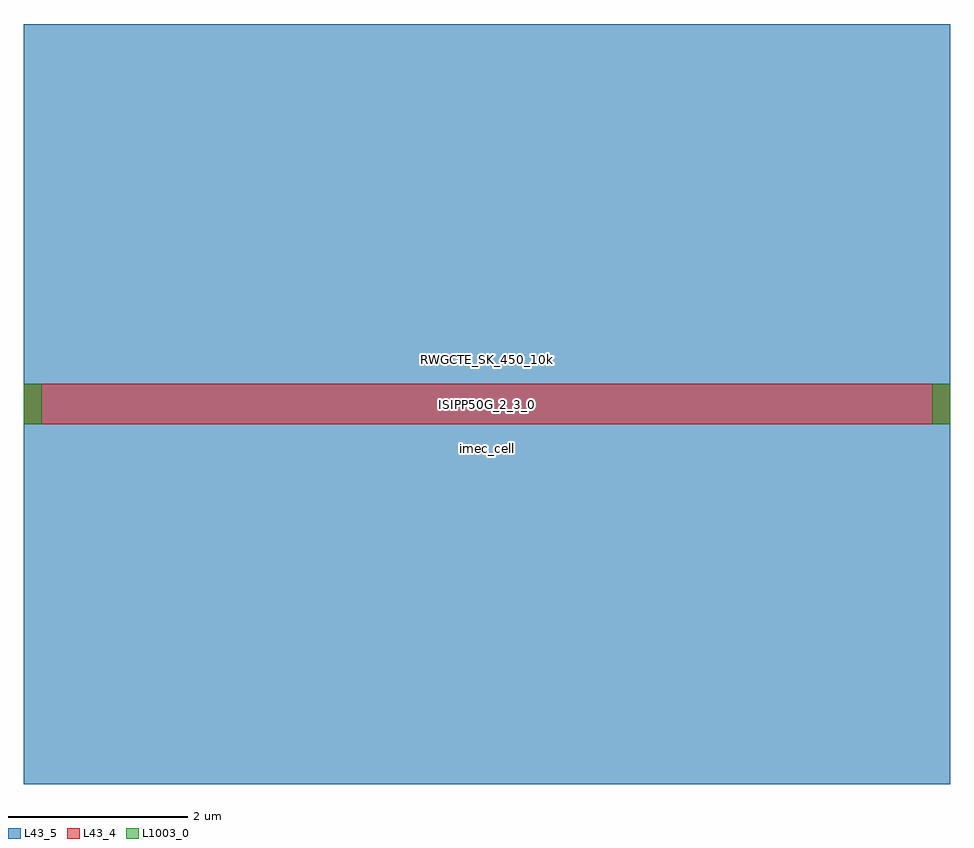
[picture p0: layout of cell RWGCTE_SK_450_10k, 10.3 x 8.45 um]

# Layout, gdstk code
import gdstk
lib = gdstk.Library(unit=1e-6, precision=1e-09)
def R(c, l, rs):  # rectangles x0, y0, x1, y1
    for r in rs: c.add(gdstk.rectangle(r[:2], r[2:], *l))
L43_4 = (43, 4)
L43_5 = (43, 5)
L1003_0 = (1003, 0)

rwgcte_sk_450_10k = lib.new_cell('RWGCTE_SK_450_10k')
R(rwgcte_sk_450_10k, L43_4, [(-0.15,-0.225,0,0.225), (0,-0.225,10,0.225), (10,-0.225,10.15,0.225)])
R(rwgcte_sk_450_10k, L43_5, [(-0.15,-4.225,0,4.225), (0,-4.225,10,4.225), (10,-4.225,10.15,4.225)])
R(rwgcte_sk_450_10k, L1003_0, [(-0.15,-0.225,0,0.225), (0,-0.225,0.05,0.225), (9.95,-0.225,10,0.225), (10,-0.225,10.15,0.225)])
rwgcte_sk_450_10k.add(gdstk.Label('RWGCTE_SK_450_10k', (5,0.5), layer=1002, texttype=0))
rwgcte_sk_450_10k.add(gdstk.Label('ISIPP50G_2_3_0', (5,0), layer=1002, texttype=0))
rwgcte_sk_450_10k.add(gdstk.Label('imec_cell', (5,-0.5), layer=1002, texttype=0))

lib.write_gds('RWGCTE_SK_450_10k.gds')
